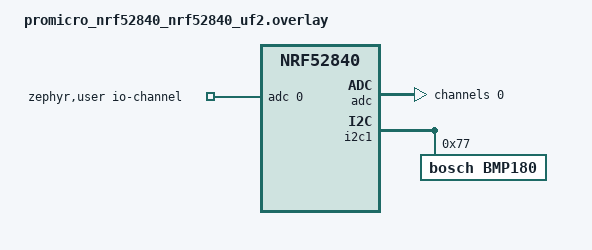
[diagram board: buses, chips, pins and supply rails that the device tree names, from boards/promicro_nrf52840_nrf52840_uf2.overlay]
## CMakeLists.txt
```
cmake_minimum_required(VERSION 3.20.0)



find_package(Zephyr REQUIRED HINTS $ENV{ZEPHYR_BASE})
project(fluger)

target_sources(app PRIVATE
        src/main.c
        
)
```

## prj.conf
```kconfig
CONFIG_BT=y
CONFIG_BT_PERIPHERAL=y
CONFIG_BT_DEVICE_NAME="nRF52840_Fluger"
CONFIG_BT_ZEPHYR_NUS=y


CONFIG_GPIO=y

CONFIG_ADC=y

CONFIG_I2C=y
CONFIG_SENSOR=y
CONFIG_BMP180=y

CONFIG_NEWLIB_LIBC=y
CONFIG_FPU=y

CONFIG_CONSOLE=y
CONFIG_PRINTK=y


CONFIG_PM=y 
CONFIG_PM_DEVICE=y

CONFIG_REGULATOR=y
```

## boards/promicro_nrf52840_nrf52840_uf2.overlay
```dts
#include <zephyr/dt-bindings/adc/nrf-saadc-v3.h>
#include <zephyr/dt-bindings/regulator/nrf5x.h>


/ {
    zephyr,user {
        io-channels = <&adc 0>;
    };
};


&adc {
    #address-cells = <1>;
    #size-cells = <0>;
    channel@0 {
        reg = <0>; 
        zephyr,gain = "ADC_GAIN_1_6";
        zephyr,reference = "ADC_REF_INTERNAL";
        zephyr,acquisition-time = <ADC_ACQ_TIME_DEFAULT>;
        zephyr,input-positive = <NRF_SAADC_VDDHDIV5>;
        zephyr,resolution = <12>;
    };
};

&i2c1 {
	status = "okay";

	bmp180: bmp180@77 {
		compatible = "bosch,bmp180";
		reg = <0x77>;
		status = "okay";
        osr-press=<0>;
        
	};  
};

&reg1 {
    regulator-initial-mode = <NRF5X_REG_MODE_DCDC>;
};
```

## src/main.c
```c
#include <math.h>
#include <stdlib.h>
#include <zephyr/kernel.h>
#include <zephyr/drivers/adc.h>
#include <zephyr/drivers/i2c.h>
#include <zephyr/drivers/gpio.h>
#include <zephyr/drivers/sensor.h>
#include <zephyr/init.h>
#include <zephyr/bluetooth/bluetooth.h>
#include <zephyr/bluetooth/hci.h>
#include <zephyr/bluetooth/services/nus.h>
#include <stdio.h>
#include <string.h>




/*УСТРОЙСТВА*/
#define I2C_NODE DT_NODELABEL(i2c1)
#define GPIO_NODE DT_NODELABEL(gpio0)
/*MT6701 УГОЛ*/
#define MT6701_ADDR 0x06
#define MT6701_ANGLE_REG 0x03
/*ПИНЫ*/
#define POWER_PIN 13
#define HALL_PIN 22
#define LED0_PIN 15
/*BT*/
#define DEVICE_NAME CONFIG_BT_DEVICE_NAME


static const struct device *i2c = DEVICE_DT_GET(I2C_NODE);
static const struct device *gpio = DEVICE_DT_GET(GPIO_NODE);
static const struct device *bmp= DEVICE_DT_GET(DT_NODELABEL(bmp180));


//	ADC
static const struct adc_dt_spec adc_channel = ADC_DT_SPEC_GET(DT_PATH(zephyr_user));


struct sensor_value temperature, press;
uint8_t buf[2];

int32_t read_battery_voltage(void) {
    int err;
    int16_t sample_buffer;
    int32_t val_mv; 
       
    struct adc_sequence sequence = {
        .buffer = &sample_buffer,
        .buffer_size = sizeof(sample_buffer),
    };
    adc_sequence_init_dt(&adc_channel, &sequence);

   
    err = adc_read_dt(&adc_channel, &sequence);
    if (err < 0) {
        printk("Could not read ADC (%d)\n", err);
        return -1;
    }

    val_mv = sample_buffer;
    
    err = adc_raw_to_millivolts_dt(&adc_channel, &val_mv);
    if (err < 0) {
        printk("Error converting raw to mV (%d)\n", err);
        return -1;
    }

    
    return val_mv * 5;
   
}

//	BT

static bool ble_is_enabled = true;

static const struct bt_data ad[] = {
    BT_DATA_BYTES(BT_DATA_FLAGS, (BT_LE_AD_GENERAL | BT_LE_AD_NO_BREDR)),
    BT_DATA(BT_DATA_NAME_COMPLETE, DEVICE_NAME, sizeof(DEVICE_NAME) - 1),
};

static struct k_work_delayable adv_work;

static void start_adv(void)
{
    
   
	(void)bt_le_adv_stop();    
    int err=bt_le_adv_start(BT_LE_ADV_CONN_FAST_1, ad, ARRAY_SIZE(ad), NULL, 0);
    if (err == -EALREADY) {        
        return;
    }
    if (err) {        
        k_work_schedule(&adv_work, K_MSEC(1000));
    }
}

static void adv_work_handler(struct k_work *work)
{
    start_adv();
}

static void connected(struct bt_conn *conn, uint8_t err)
{
    
    if (err) {
        k_work_schedule(&adv_work, K_MSEC(50));
    }
}

static void disconnected(struct bt_conn *conn, uint8_t reason)
{
    k_work_schedule(&adv_work, K_MSEC(50));
}

static void notif_enabled(bool enabled, void *ctx)
{
    ARG_UNUSED(ctx);    
    printk("Notifications: %s\n", enabled ? "Enabled" : "Disabled");
}

BT_CONN_CB_DEFINE(conn_cbs) = {
    .connected = connected,
    .disconnected = disconnected,
    
};
static struct bt_nus_cb nus_cb = {
    .notif_enabled = notif_enabled,
    
};

//          GPIO        

static struct gpio_callback hall_cb;
static volatile uint32_t pulse_count = 0;
static volatile uint32_t pulse_count_1min= 0;
static volatile uint32_t pulse_count_5min = 0;


// 	Обработчик прерывания

static struct k_work_delayable led_off_work;

static void hall_isr(const struct device *dev, struct gpio_callback *cb, uint32_t pins)
{
   	
	pulse_count++;
		
		
}






static void led_off_handler(struct k_work *work)
{
    gpio_pin_set(gpio, LED0_PIN, 0);
}

static void error_blink(int code) {
   while (1){
	for (int i = 0; i < code; i++) {
        gpio_pin_set(gpio, LED0_PIN, 1); /* Светодиод включён */
        k_sleep(K_MSEC(600));
        gpio_pin_set(gpio, LED0_PIN, 0); /* Светодиод выключен */  
		k_sleep(K_MSEC(600));      
    }
    /* Пауза между повторениями */
    k_sleep(K_MSEC(3000));
}
}


static void system_init(){

	int err;	
	if (!device_is_ready(gpio)	) {
		printk("GPIO not ready\n");
		error_blink(1);		
	}
	/*GPIO*/
	gpio_pin_configure(gpio, POWER_PIN, GPIO_OUTPUT_ACTIVE);	
	gpio_pin_configure(gpio, HALL_PIN, GPIO_INPUT | GPIO_PULL_UP);		
	gpio_pin_interrupt_configure(gpio, HALL_PIN, GPIO_INT_EDGE_FALLING);	
	gpio_pin_configure(gpio, LED0_PIN, GPIO_OUTPUT_INACTIVE);	
	k_work_init_delayable(&led_off_work, led_off_handler);
	gpio_init_callback(&hall_cb, hall_isr, BIT(HALL_PIN));
    gpio_add_callback(gpio, &hall_cb);
	

	if (!device_is_ready(i2c)) {
		printk("I2C device not ready\n");
		error_blink(2);			
	}
	
	if (!device_is_ready(bmp)) {
		printk("BMP180 device not ready\n");
		error_blink(3);		
	}

	if (!adc_is_ready_dt(&adc_channel)) {
        printk("ADC driver is not ready\n");
		error_blink(4);	        
    }

	
	

	

	/*BT*/
	
	err=bt_enable(NULL);
    if (err) {
        printk("Bluetooth init failed (err %d)\n", err);
		error_blink(5);	        
    }

	err = bt_nus_cb_register(&nus_cb, NULL); //регистрирует callback BT NUS
    if (err) {
        printk("NUS callback register failed: %d\n", err);
		error_blink(6);	        
    }
	k_work_init_delayable(&adv_work, adv_work_handler);
    start_adv();
	/*ADC*/

	err = adc_channel_setup_dt(&adc_channel);
    if (err < 0) {
        printk("Could not setup ADC channel (%d)\n", err);
		error_blink(7);	        
    }

}

static float angle = 0;
static double temperature_double;
static double press_double;
static int64_t last_read=0;
static int32_t vbatt = 0;

static void read_sensors(int64_t now)
{
	if (last_read==0 ||(now-last_read)>=60000) {
		
	//BMP180
	int ret = sensor_sample_fetch(bmp);
	if (ret) {
		printk("BMP fetch error: %d\n", ret);				
	} else {
		sensor_channel_get(bmp, SENSOR_CHAN_DIE_TEMP, &temperature);
		sensor_channel_get(bmp, SENSOR_CHAN_PRESS, &press);
		temperature_double = sensor_value_to_double(&temperature);
		press_double = sensor_value_to_double(&press);
	}
	
	
	last_read=now;	

	char msg[32];					
				
	snprintf(msg, sizeof(msg), "S%d;%d;%d;\n",
		(int)(temperature_double*10), // Температуру делить на 10 в приемнике	
		(int)(press_double* 7.50062),
		vbatt); 
		// угол, температура,давление,
	int nus_err = bt_nus_send(NULL, msg, strlen(msg));
	if (nus_err && nus_err != -ENOTCONN) {
		printk("BLE send error: %d\n", nus_err);
	}

	}
	
}



int main(void)
{	
	
		
	
	
	float  rotation_time;
	int64_t last_1min = k_uptime_get();
	int64_t last_5min = k_uptime_get();
	float freq_5min=0, freq_1min=0;
		

	system_init();
    
	
	
	while (1) {		
		
		

		vbatt = read_battery_voltage();
		if (vbatt<3250){
			if (ble_is_enabled){
				bt_le_adv_stop();
			    ble_is_enabled = false;
			}
        	k_sleep(K_MSEC(60000));  
        	continue;	
			
		} else 
		{
			if (!ble_is_enabled){
				start_adv();
				ble_is_enabled=true;
			}
		} 
		
		if (vbatt > 3700) {
			rotation_time=6.0f;
			k_sleep(K_MSEC(6000));		
		} else {
			rotation_time=30.0f;
			k_sleep(K_MSEC(30000));
		} 
		/*gpio_pin_set(gpio, LED0_PIN, 1);
		k_work_schedule(&led_off_work, K_MSEC(50));	*/

		
			
		uint32_t pulses_temp=pulse_count;

		pulse_count_1min+=pulses_temp;
		pulse_count_5min+=pulses_temp;

		float freq_current = (float)pulses_temp/rotation_time;			
		pulse_count=0;

		int64_t now = k_uptime_get();

		if ((now-last_1min)>=60000){
			freq_1min = (float)pulse_count_1min/60.f;
			pulse_count_1min=0;
			last_1min=now;
		}

		if ((now-last_5min)>=300000){
			freq_5min = (float)pulse_count_5min/300.f;
			pulse_count_5min=0;
			last_5min=now;
		}

		
		gpio_pin_set(gpio, POWER_PIN, 1);
		k_sleep(K_MSEC(50));	
		read_sensors(now);	
		
		// Отправка 
		char msg[32];		
		//MT6701
		int ret=i2c_burst_read(i2c, MT6701_ADDR, MT6701_ANGLE_REG, buf, 2);
		if (ret) {
			printk("MT6701 read error: %d\n", ret);				
		} else{
			uint16_t raw = ((uint16_t)buf[0] << 6) | (buf[1] >> 2);
			angle = (float)raw / 16384.0f * 360.0f;
		}
		//snprintf(msg, sizeof(msg), "1000;1000;1000;1000\n"); 
		gpio_pin_set(gpio, POWER_PIN, 0);
		
		k_sleep(K_MSEC(500));

		snprintf(msg, sizeof(msg), "F%d;%d;%d;%d\n",(int)(freq_current*100),(int)(freq_1min*100),(int)(freq_5min*100),(int)angle); 
		
				
		/*snprintf(msg, sizeof(msg), "%d;%d;%d;%d;%d;%d;%d;\n",
				(int)angle,
				(int)(temperature_double*10), // Температуру делить на 10 в приемнике	
				(int)(press_double* 7.50062),
				(int)(freq_current*100), // Частоту делить на 100
				(int)(freq_1min*100),
				(int)(freq_5min*100),
				vbatt); 
				// угол, температура,давление,частота, частота 1 мин, частота 5 мин, батарея	

			*/	
		int nus_err = bt_nus_send(NULL, msg, strlen(msg));
		if (nus_err && nus_err != -ENOTCONN) {
			printk("BLE send error: %d\n", nus_err);
		}

				
		

	}
}
```
